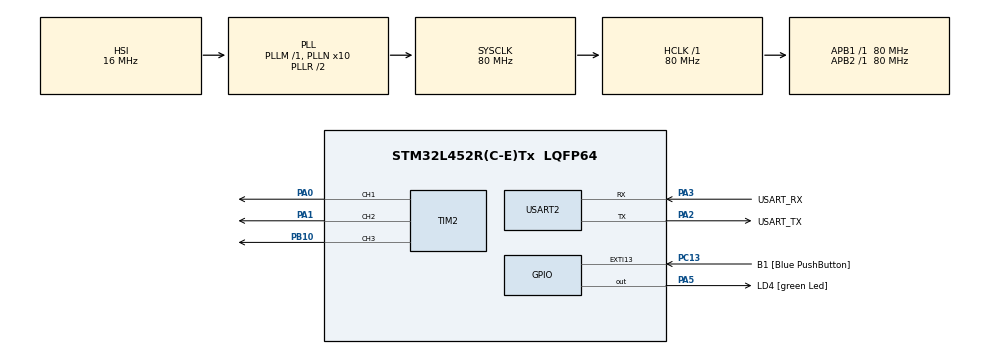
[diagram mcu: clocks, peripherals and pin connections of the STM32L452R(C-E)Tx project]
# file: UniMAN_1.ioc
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Mcu.Family=STM32L4
Mcu.Name=STM32L452R(C-E)Tx
Mcu.Package=LQFP64
Mcu.UserConstants=TIM2_COUNTER_PERIOD,19999;TIM2_PRESCALER,79
NVIC.EXTI15_10_IRQn=true\:0\:0\:false\:false\:true\:true\:true\:true
NVIC.PriorityGroup=NVIC_PRIORITYGROUP_4
PA0.Signal=S_TIM2_CH1
PA1.Signal=S_TIM2_CH2
PA13\ (JTMS/SWDIO).GPIO_Label=TMS
PA13\ (JTMS/SWDIO).Mode=Serial_Wire
PA13\ (JTMS/SWDIO).Signal=SYS_JTMS-SWDIO
PA14\ (JTCK/SWCLK).GPIO_Label=TCK
PA14\ (JTCK/SWCLK).Mode=Serial_Wire
PA14\ (JTCK/SWCLK).Signal=SYS_JTCK-SWCLK
PA2.GPIO_Label=USART_TX
PA2.GPIO_Mode=GPIO_MODE_AF_PP
PA2.GPIO_PuPd=GPIO_NOPULL
PA2.GPIO_Speed=GPIO_SPEED_FREQ_VERY_HIGH
PA2.Mode=Asynchronous
PA2.Signal=USART2_TX
PA3.GPIO_Label=USART_RX
PA3.GPIO_Mode=GPIO_MODE_AF_PP
PA3.GPIO_PuPd=GPIO_NOPULL
PA3.GPIO_Speed=GPIO_SPEED_FREQ_VERY_HIGH
PA3.Mode=Asynchronous
PA3.Signal=USART2_RX
PA5.GPIO_Label=LD4 [green Led]
PA5.GPIO_ModeDefaultOutputPP=GPIO_MODE_OUTPUT_PP
PA5.GPIO_PuPd=GPIO_NOPULL
PA5.GPIO_Speed=GPIO_SPEED_FREQ_LOW
PA5.Signal=GPIO_Output
PB10.Signal=S_TIM2_CH3
PB3\ (JTDO/TRACESWO).GPIO_Label=SWO
PB3\ (JTDO/TRACESWO).Signal=SYS_JTDO-SWO
PC13.GPIO_Label=B1 [Blue PushButton]
PC13.GPIO_ModeDefaultEXTI=GPIO_MODE_IT_FALLING
PC13.GPIO_PuPd=GPIO_PULLUP
PC13.Signal=GPXTI13
PC14-OSC32_IN\ (PC14).Mode=LSE-External-Oscillator
PC14-OSC32_IN\ (PC14).Signal=RCC_OSC32_IN
PC15-OSC32_OUT\ (PC15).Mode=LSE-External-Oscillator
PC15-OSC32_OUT\ (PC15).Signal=RCC_OSC32_OUT
PH0-OSC_IN\ (PH0).Signal=RCC_OSC_IN
PH1-OSC_OUT\ (PH1).Signal=RCC_OSC_OUT
ProjectManager.HeapSize=0x200
ProjectManager.StackSize=0x400
ProjectManager.TargetToolchain=STM32CubeIDE
RCC.ADCFreq_Value=64000000
RCC.AHBFreq_Value=80000000
RCC.APB1Freq_Value=80000000
RCC.APB1TimFreq_Value=80000000
RCC.APB2Freq_Value=80000000
RCC.APB2TimFreq_Value=80000000
RCC.CortexFreq_Value=80000000
RCC.HCLKFreq_Value=80000000
RCC.HSE_VALUE=8000000
RCC.HSI48_VALUE=48000000
RCC.HSI_VALUE=16000000
RCC.MSI_VALUE=4000000
RCC.PLLN=10
RCC.PLLSourceVirtual=RCC_PLLSOURCE_HSI
RCC.PREFETCH_ENABLE=1
RCC.SYSCLKFreq_VALUE=80000000
RCC.SYSCLKSource=RCC_SYSCLKSOURCE_PLLCLK
RCC.USBFreq_Value=64000000
RCC.VCOOutputFreq_Value=160000000
SH.S_TIM2_CH1.0=TIM2_CH1,PWM Generation1 CH1
SH.S_TIM2_CH2.0=TIM2_CH2,PWM Generation2 CH2
SH.S_TIM2_CH3.0=TIM2_CH3,PWM Generation3 CH3
TIM2.Channel-PWM\ Generation1\ CH1=TIM_CHANNEL_1
TIM2.Channel-PWM\ Generation2\ CH2=TIM_CHANNEL_2
TIM2.Channel-PWM\ Generation3\ CH3=TIM_CHANNEL_3
TIM2.Period=TIM2_COUNTER_PERIOD
TIM2.Prescaler=TIM2_PRESCALER
USART2.VirtualMode-Asynchronous=VM_ASYNC
VP_TIM2_VS_ClockSourceINT.Mode=Internal
board=NUCLEO-L452RE

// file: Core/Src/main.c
/* USER CODE BEGIN Header */
/**
  ******************************************************************************
  * @file           : main.c
  * @brief          : Main program body
  ******************************************************************************
  * @attention
  *
  * Copyright (c) 2025 STMicroelectronics.
  * All rights reserved.
  *
  * This software is licensed under terms that can be found in the LICENSE file
  * in the root directory of this software component.
  * If no LICENSE file comes with this software, it is provided AS-IS.
  *
  ******************************************************************************
  */
/* USER CODE END Header */
#include "main.h"

TIM_HandleTypeDef htim2;

UART_HandleTypeDef huart2;

/* USER CODE BEGIN PV */
volatile uint8_t emergency_stop = 0;
volatile uint32_t last_button_time = 0;

uint8_t current_angle = 90;

/* USER CODE END PV */

void SystemClock_Config(void);
static void MX_GPIO_Init(void);
static void MX_USART2_UART_Init(void);
static void MX_TIM2_Init(void);
/* USER CODE BEGIN PFP */
void set_servo_SG90_angle(uint32_t channel, uint8_t angle){
  uint16_t pulse_min=875;  // 1 ms = 1000
  uint16_t pulse_max=2525;  // 2 ms = 2000

  uint16_t pulse=pulse_min+((pulse_max-pulse_min)*angle)/180;

  __HAL_TIM_SET_COMPARE(&htim2, channel, pulse);
  current_angle=angle;
}

void set_servo_SG90_angle_smooth(uint32_t channel, uint8_t angle){
  uint16_t pulse_min=875;  // 1 ms = 1000
  uint16_t pulse_max=2525;  // 2 ms = 2000

  if(emergency_stop) return;

  uint16_t pulse_now=__HAL_TIM_GET_COMPARE(&htim2, TIM_CHANNEL_1);
  if (!pulse_now) pulse_now=(current_angle/180)*(pulse_max-pulse_min)+pulse_min;
  uint16_t pulse=pulse_min+((pulse_max-pulse_min)*angle)/180;

  //uint8_t ang_now=pulse_now/(pulse_max-pulse_min)*180;

  if(pulse>pulse_now){
	  for(int i=pulse_now; i<=pulse; i++){
		  if(emergency_stop) return;
		  __HAL_TIM_SET_COMPARE(&htim2, channel, i);
		  current_angle=(uint8_t)(((i-pulse_min)*180)/(pulse_max-pulse_min));
		  HAL_Delay(0.25);
	  }
  }
  else{
	  for(int i=pulse_now; i>=pulse; i--){
		  if(emergency_stop) return;
		  __HAL_TIM_SET_COMPARE(&htim2, channel, i);
		  //current_angle=(i-pulse_min)/(pulse_max-pulse_min)*180;
		  current_angle=(uint8_t)(((i-pulse_min)*180)/(pulse_max-pulse_min));
		  HAL_Delay(0.25);
	  }
  }
  if(!emergency_stop) current_angle=angle;
}

void HAL_GPIO_EXTI_Callback(uint16_t GPIO_Pin){
    if(GPIO_Pin==GPIO_PIN_13){
        uint32_t now=HAL_GetTick();

        // Debounce ~200 ms
        if(now-last_button_time<200) return;
        last_button_time=now;

        // TOGGLE
        emergency_stop ^= 1;

        if(emergency_stop){
            // STOP – natychmiast wyłącz PWM
            __HAL_TIM_SET_COMPARE(&htim2, TIM_CHANNEL_1, 0);
        }
        else{
            // RUN – wróć do ostatniej pozycji
        	set_servo_SG90_angle(TIM_CHANNEL_1, current_angle);
        }
    }
}

/* USER CODE END PFP */

int main(void)
{

  /* MCU Configuration--------------------------------------------------------*/

  /* Reset of all peripherals, Initializes the Flash interface and the Systick. */
  HAL_Init();

  /* Configure the system clock */
  SystemClock_Config();

  /* Initialize all configured peripherals */
  MX_GPIO_Init();
  MX_USART2_UART_Init();
  MX_TIM2_Init();
  /* USER CODE BEGIN 2 */
  HAL_TIM_PWM_Start(&htim2, TIM_CHANNEL_1);
  HAL_TIM_PWM_Start(&htim2, TIM_CHANNEL_2);
  HAL_TIM_PWM_Start(&htim2, TIM_CHANNEL_3);

  HAL_GPIO_WritePin(LD4_GPIO_Port, LD4_Pin, GPIO_PIN_SET);
  set_servo_SG90_angle(TIM_CHANNEL_1, 90);
  /* USER CODE END 2 */

  /* Infinite loop */
  /* USER CODE BEGIN WHILE */
  while (1)
  {
	  if(!emergency_stop){
	  		  HAL_GPIO_TogglePin(LD4_GPIO_Port, LD4_Pin);
	  		  set_servo_SG90_angle(TIM_CHANNEL_1, 0);
	  		  HAL_Delay(1000);

	  		  HAL_GPIO_TogglePin(LD4_GPIO_Port, LD4_Pin);
	  		  set_servo_SG90_angle(TIM_CHANNEL_1, 90);
	  		  HAL_Delay(1000);

	  		  HAL_GPIO_TogglePin(LD4_GPIO_Port, LD4_Pin);
	  		  set_servo_SG90_angle(TIM_CHANNEL_1, 180);
	  		  HAL_Delay(1000);

	  		  HAL_GPIO_TogglePin(LD4_GPIO_Port, LD4_Pin);
	  		  set_servo_SG90_angle(TIM_CHANNEL_1, 90);
	  		  HAL_Delay(1000);
	  	  }

    /* USER CODE END WHILE */

  }
}

void SystemClock_Config(void)
{
  RCC_OscInitTypeDef RCC_OscInitStruct = {0};
  RCC_ClkInitTypeDef RCC_ClkInitStruct = {0};

  /** Configure the main internal regulator output voltage
  */
  if (HAL_PWREx_ControlVoltageScaling(PWR_REGULATOR_VOLTAGE_SCALE1) != HAL_OK)
  {
    Error_Handler();
  }

  /** Initializes the RCC Oscillators according to the specified parameters
  * in the RCC_OscInitTypeDef structure.
  */
  RCC_OscInitStruct.OscillatorType = RCC_OSCILLATORTYPE_HSI;
  RCC_OscInitStruct.HSIState = RCC_HSI_ON;
  RCC_OscInitStruct.HSICalibrationValue = 64;
  RCC_OscInitStruct.PLL.PLLState = RCC_PLL_ON;
  RCC_OscInitStruct.PLL.PLLSource = RCC_PLLSOURCE_HSI;
  RCC_OscInitStruct.PLL.PLLM = 1;
  RCC_OscInitStruct.PLL.PLLN = 10;
  RCC_OscInitStruct.PLL.PLLP = RCC_PLLP_DIV7;
  RCC_OscInitStruct.PLL.PLLQ = RCC_PLLQ_DIV2;
  RCC_OscInitStruct.PLL.PLLR = RCC_PLLR_DIV2;
  if (HAL_RCC_OscConfig(&RCC_OscInitStruct) != HAL_OK)
  {
    Error_Handler();
  }

  /** Initializes the CPU, AHB and APB buses clocks
  */
  RCC_ClkInitStruct.ClockType = RCC_CLOCKTYPE_HCLK|RCC_CLOCKTYPE_SYSCLK
                              |RCC_CLOCKTYPE_PCLK1|RCC_CLOCKTYPE_PCLK2;
  RCC_ClkInitStruct.SYSCLKSource = RCC_SYSCLKSOURCE_PLLCLK;
  RCC_ClkInitStruct.AHBCLKDivider = RCC_SYSCLK_DIV1;
  RCC_ClkInitStruct.APB1CLKDivider = RCC_HCLK_DIV1;
  RCC_ClkInitStruct.APB2CLKDivider = RCC_HCLK_DIV1;

  if (HAL_RCC_ClockConfig(&RCC_ClkInitStruct, FLASH_LATENCY_4) != HAL_OK)
  {
    Error_Handler();
  }
}

static void MX_TIM2_Init(void)
{

  TIM_ClockConfigTypeDef sClockSourceConfig = {0};
  TIM_MasterConfigTypeDef sMasterConfig = {0};
  TIM_OC_InitTypeDef sConfigOC = {0};

  htim2.Instance = TIM2;
  htim2.Init.Prescaler = TIM2_PRESCALER;
  htim2.Init.CounterMode = TIM_COUNTERMODE_UP;
  htim2.Init.Period = TIM2_COUNTER_PERIOD;
  htim2.Init.ClockDivision = TIM_CLOCKDIVISION_DIV1;
  htim2.Init.AutoReloadPreload = TIM_AUTORELOAD_PRELOAD_DISABLE;
  if (HAL_TIM_Base_Init(&htim2) != HAL_OK)
  {
    Error_Handler();
  }
  sClockSourceConfig.ClockSource = TIM_CLOCKSOURCE_INTERNAL;
  if (HAL_TIM_ConfigClockSource(&htim2, &sClockSourceConfig) != HAL_OK)
  {
    Error_Handler();
  }
  if (HAL_TIM_PWM_Init(&htim2) != HAL_OK)
  {
    Error_Handler();
  }
  sMasterConfig.MasterOutputTrigger = TIM_TRGO_RESET;
  sMasterConfig.MasterSlaveMode = TIM_MASTERSLAVEMODE_DISABLE;
  if (HAL_TIMEx_MasterConfigSynchronization(&htim2, &sMasterConfig) != HAL_OK)
  {
    Error_Handler();
  }
  sConfigOC.OCMode = TIM_OCMODE_PWM1;
  sConfigOC.Pulse = 0;
  sConfigOC.OCPolarity = TIM_OCPOLARITY_HIGH;
  sConfigOC.OCFastMode = TIM_OCFAST_DISABLE;
  if (HAL_TIM_PWM_ConfigChannel(&htim2, &sConfigOC, TIM_CHANNEL_1) != HAL_OK)
  {
    Error_Handler();
  }
  if (HAL_TIM_PWM_ConfigChannel(&htim2, &sConfigOC, TIM_CHANNEL_2) != HAL_OK)
  {
    Error_Handler();
  }
  if (HAL_TIM_PWM_ConfigChannel(&htim2, &sConfigOC, TIM_CHANNEL_3) != HAL_OK)
  {
    Error_Handler();
  }
  HAL_TIM_MspPostInit(&htim2);

}

static void MX_USART2_UART_Init(void)
{

  huart2.Instance = USART2;
  huart2.Init.BaudRate = 115200;
  huart2.Init.WordLength = UART_WORDLENGTH_8B;
  huart2.Init.StopBits = UART_STOPBITS_1;
  huart2.Init.Parity = UART_PARITY_NONE;
  huart2.Init.Mode = UART_MODE_TX_RX;
  huart2.Init.HwFlowCtl = UART_HWCONTROL_NONE;
  huart2.Init.OverSampling = UART_OVERSAMPLING_16;
  huart2.Init.OneBitSampling = UART_ONE_BIT_SAMPLE_DISABLE;
  huart2.AdvancedInit.AdvFeatureInit = UART_ADVFEATURE_NO_INIT;
  if (HAL_UART_Init(&huart2) != HAL_OK)
  {
    Error_Handler();
  }

}

static void MX_GPIO_Init(void)
{
  GPIO_InitTypeDef GPIO_InitStruct = {0};

  /* GPIO Ports Clock Enable */
  __HAL_RCC_GPIOC_CLK_ENABLE();
  __HAL_RCC_GPIOH_CLK_ENABLE();
  __HAL_RCC_GPIOA_CLK_ENABLE();
  __HAL_RCC_GPIOB_CLK_ENABLE();

  /*Configure GPIO pin Output Level */
  HAL_GPIO_WritePin(LD4_GPIO_Port, LD4_Pin, GPIO_PIN_RESET);

  /*Configure GPIO pin : B1_Pin */
  GPIO_InitStruct.Pin = B1_Pin;
  GPIO_InitStruct.Mode = GPIO_MODE_IT_FALLING;
  GPIO_InitStruct.Pull = GPIO_PULLUP;
  HAL_GPIO_Init(B1_GPIO_Port, &GPIO_InitStruct);

  /*Configure GPIO pin : LD4_Pin */
  GPIO_InitStruct.Pin = LD4_Pin;
  GPIO_InitStruct.Mode = GPIO_MODE_OUTPUT_PP;
  GPIO_InitStruct.Pull = GPIO_NOPULL;
  GPIO_InitStruct.Speed = GPIO_SPEED_FREQ_LOW;
  HAL_GPIO_Init(LD4_GPIO_Port, &GPIO_InitStruct);

  /* EXTI interrupt init*/
  HAL_NVIC_SetPriority(EXTI15_10_IRQn, 0, 0);
  HAL_NVIC_EnableIRQ(EXTI15_10_IRQn);

}

void Error_Handler(void)
{
  __disable_irq();
  while (1)
  {
  }
}
